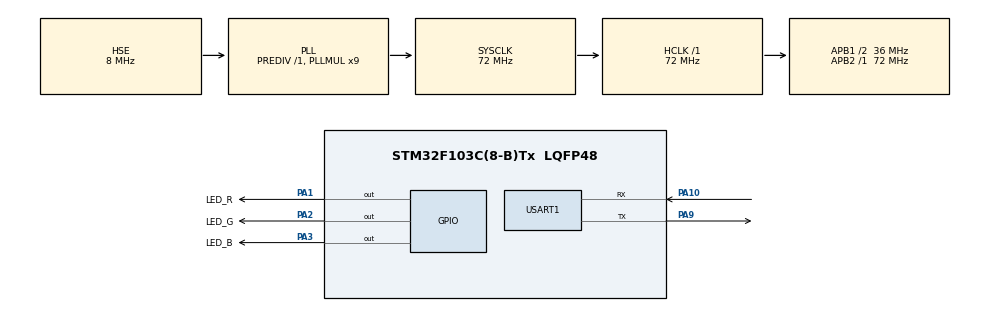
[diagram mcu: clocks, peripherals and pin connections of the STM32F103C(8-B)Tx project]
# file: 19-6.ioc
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Mcu.Family=STM32F1
Mcu.Name=STM32F103C(8-B)Tx
Mcu.Package=LQFP48
NVIC.PriorityGroup=NVIC_PRIORITYGROUP_4
NVIC.USART1_IRQn=true\:0\:0\:false\:false\:true\:true\:true\:true
PA1.GPIO_Label=LED_R
PA1.Signal=GPIO_Output
PA10.Mode=Asynchronous
PA10.Signal=USART1_RX
PA13.Mode=Serial_Wire
PA13.Signal=SYS_JTMS-SWDIO
PA14.Mode=Serial_Wire
PA14.Signal=SYS_JTCK-SWCLK
PA2.GPIO_Label=LED_G
PA2.Signal=GPIO_Output
PA3.GPIO_Label=LED_B
PA3.Signal=GPIO_Output
PA9.Mode=Asynchronous
PA9.Signal=USART1_TX
PC14-OSC32_IN.Mode=LSE-External-Oscillator
PC14-OSC32_IN.Signal=RCC_OSC32_IN
PC15-OSC32_OUT.Mode=LSE-External-Oscillator
PC15-OSC32_OUT.Signal=RCC_OSC32_OUT
PD0-OSC_IN.Mode=HSE-External-Oscillator
PD0-OSC_IN.Signal=RCC_OSC_IN
PD1-OSC_OUT.Mode=HSE-External-Oscillator
PD1-OSC_OUT.Signal=RCC_OSC_OUT
ProjectManager.HeapSize=0x200
ProjectManager.StackSize=0x400
ProjectManager.TargetToolchain=MDK-ARM V5.32
RCC.AHBFreq_Value=72000000
RCC.APB1CLKDivider=RCC_HCLK_DIV2
RCC.APB1Freq_Value=36000000
RCC.APB1TimFreq_Value=72000000
RCC.APB2Freq_Value=72000000
RCC.APB2TimFreq_Value=72000000
RCC.HCLKFreq_Value=72000000
RCC.PLLMUL=RCC_PLL_MUL9
RCC.PLLSourceVirtual=RCC_PLLSOURCE_HSE
RCC.SYSCLKFreq_VALUE=72000000
RCC.SYSCLKSource=RCC_SYSCLKSOURCE_PLLCLK
RCC.USBFreq_Value=72000000
USART1.VirtualMode=VM_ASYNC
board=custom

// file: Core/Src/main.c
/* USER CODE BEGIN Header */
/**
  ******************************************************************************
  * @file           : main.c
  * @brief          : Main program body
  ******************************************************************************
  * @attention
  *
  * Copyright (c) 2026 STMicroelectronics.
  * All rights reserved.
  *
  * This software is licensed under terms that can be found in the LICENSE file
  * in the root directory of this software component.
  * If no LICENSE file comes with this software, it is provided AS-IS.
  *
  ******************************************************************************
  */
/* USER CODE END Header */
#include "main.h"
#include "usart.h"
#include "gpio.h"

/* USER CODE BEGIN Includes */
#include <stdio.h>
#include <string.h>
/* USER CODE END Includes */

/* USER CODE BEGIN PV */
uint8_t RxBuff[3] = {0};	//最多接收三个字节
uint8_t RxCount = 0;//接收计数

/* USER CODE END PV */

void SystemClock_Config(void);

int main(void)
{

  /* MCU Configuration--------------------------------------------------------*/

  /* Reset of all peripherals, Initializes the Flash interface and the Systick. */
  HAL_Init();

  /* Configure the system clock */
  SystemClock_Config();

  /* Initialize all configured peripherals */
  MX_GPIO_Init();
  MX_USART1_UART_Init();
  /* USER CODE BEGIN 2 */
	HAL_UART_Receive_IT(&huart1,RxBuff,1);	//启用接收中断

	printf("串口中断控制led灯例程，命令：“ON”->点亮led，“OFF”->熄灭led");
  /* USER CODE END 2 */

  /* Infinite loop */
  while (1)
  {

  }
}

void SystemClock_Config(void)
{
  RCC_OscInitTypeDef RCC_OscInitStruct = {0};
  RCC_ClkInitTypeDef RCC_ClkInitStruct = {0};

  /** Initializes the RCC Oscillators according to the specified parameters
  * in the RCC_OscInitTypeDef structure.
  */
  RCC_OscInitStruct.OscillatorType = RCC_OSCILLATORTYPE_HSE;
  RCC_OscInitStruct.HSEState = RCC_HSE_ON;
  RCC_OscInitStruct.HSEPredivValue = RCC_HSE_PREDIV_DIV1;
  RCC_OscInitStruct.HSIState = RCC_HSI_ON;
  RCC_OscInitStruct.PLL.PLLState = RCC_PLL_ON;
  RCC_OscInitStruct.PLL.PLLSource = RCC_PLLSOURCE_HSE;
  RCC_OscInitStruct.PLL.PLLMUL = RCC_PLL_MUL9;
  if (HAL_RCC_OscConfig(&RCC_OscInitStruct) != HAL_OK)
  {
    Error_Handler();
  }

  /** Initializes the CPU, AHB and APB buses clocks
  */
  RCC_ClkInitStruct.ClockType = RCC_CLOCKTYPE_HCLK|RCC_CLOCKTYPE_SYSCLK
                              |RCC_CLOCKTYPE_PCLK1|RCC_CLOCKTYPE_PCLK2;
  RCC_ClkInitStruct.SYSCLKSource = RCC_SYSCLKSOURCE_PLLCLK;
  RCC_ClkInitStruct.AHBCLKDivider = RCC_SYSCLK_DIV1;
  RCC_ClkInitStruct.APB1CLKDivider = RCC_HCLK_DIV2;
  RCC_ClkInitStruct.APB2CLKDivider = RCC_HCLK_DIV1;

  if (HAL_RCC_ClockConfig(&RCC_ClkInitStruct, FLASH_LATENCY_2) != HAL_OK)
  {
    Error_Handler();
  }
}

/* USER CODE BEGIN 4 */

void HAL_UART_RxCpltCallback(UART_HandleTypeDef *huart)
{
	if(huart -> Instance == USART1)
	{
		RxCount ++;

		if(RxCount == 2 && strncmp((char *)RxBuff , "ON" ,2) == 0)
		{
			printf("接收到ON，led点亮");
			HAL_GPIO_WritePin(GPIOA,LED_R_Pin|LED_B_Pin|LED_G_Pin,GPIO_PIN_SET);//设置成高电平点亮led
			RxCount = 0;	//计数清空
			memset(RxBuff,0,sizeof(RxBuff));//清除数组即接收缓冲区的内容

		}
		else if(RxCount == 3 &&strncmp((char *)RxBuff , "OFF" ,3) == 0)
		{
			printf("接收到OFF，led熄灭");
			HAL_GPIO_WritePin(GPIOA,LED_R_Pin|LED_B_Pin|LED_G_Pin,GPIO_PIN_RESET);//设置成低电平熄灭led
			RxCount = 0;	//计数清空
			memset(RxBuff,0,sizeof(RxBuff));//清除数组即接收缓冲区的内容

		}
		HAL_UART_Receive_IT(&huart1,&RxBuff[RxCount],1);//重新启用接收中断
	}
}

/**
	*@breif重定向printf的输出到串口
	*@param ch 要发送的字符
	*@param f 文件指针（标准库要求的参数一般不使用）
	*@retval 返回发送的字符
	*/
int fputc(int ch,FILE*f)
{
	HAL_UART_Transmit(&huart1,(uint8_t*)&ch,1,HAL_MAX_DELAY);
	return ch;
}
/* USER CODE END 4 */

void Error_Handler(void)
{
  __disable_irq();
  while (1)
  {
  }
}
